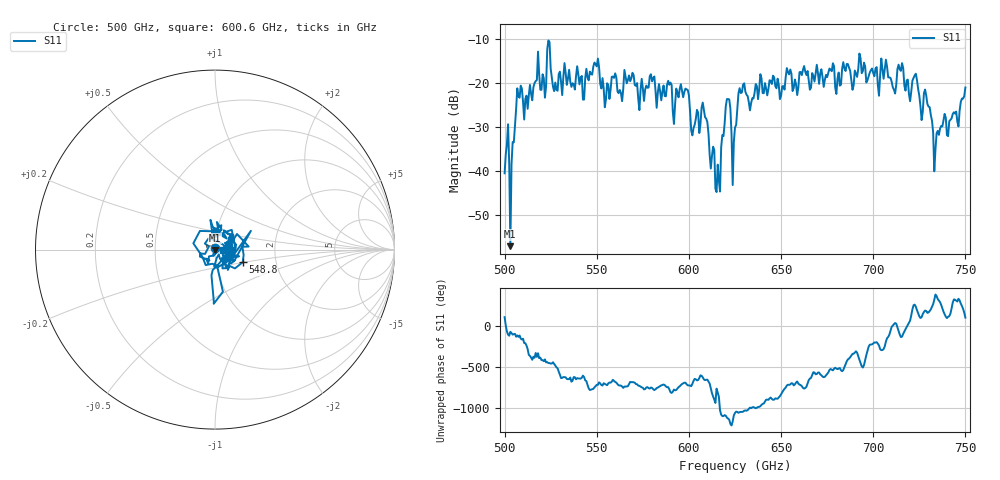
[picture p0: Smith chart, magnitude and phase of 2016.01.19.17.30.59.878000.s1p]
!Created with skrf (http://scikit-rf.org).
# GHz S RI R 50.0
!freq ReS11 ImS11
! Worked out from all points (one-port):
!   401 points, 500 GHz to 750 GHz, reference 50 ohm
!   lowest |S11| = -57.1 dB at 503.1 GHz (marker M1), VSWR 1.00, Z = 50 - j0.134 ohm
!   |S11| at or under -10 dB: start of sweep to end of sweep
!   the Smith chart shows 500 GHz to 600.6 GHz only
!   S11 on the Smith chart (normalised r, x): 500 GHz: 1.00, +0.02; 548.8 GHz: 1.35, -0.20; 600.6 GHz: 1.10, -0.01
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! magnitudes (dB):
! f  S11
! 500 GHz  -40.5
! 503.1 GHz  -57.1
! 508.1 GHz  -23.4
! 521.2 GHz  -19.0
! 524.4 GHz  -10.8
! 527.5 GHz  -20.0
! 531.2 GHz  -22.8
! 541.9 GHz  -18.5
! 548.8 GHz  -15.4
! 562.5 GHz  -21.6
! 568.8 GHz  -19.0
! 593.8 GHz  -22.2
! 598.8 GHz  -21.5
! 600.6 GHz  -26.5
! 608.8 GHz  -27.8
! 615.6 GHz  -38.6
! 620.6 GHz  -23.7
! 625 GHz  -30.2
! 628.8 GHz  -22.2
! 656.2 GHz  -21.9
! 687.5 GHz  -17.3
! 705.6 GHz  -19.1
! 711.2 GHz  -21.6
! 715 GHz  -17.3
! 718.8 GHz  -19.3
! 728.8 GHz  -22.9
! 734.4 GHz  -31.5
! 750 GHz  -21.1
